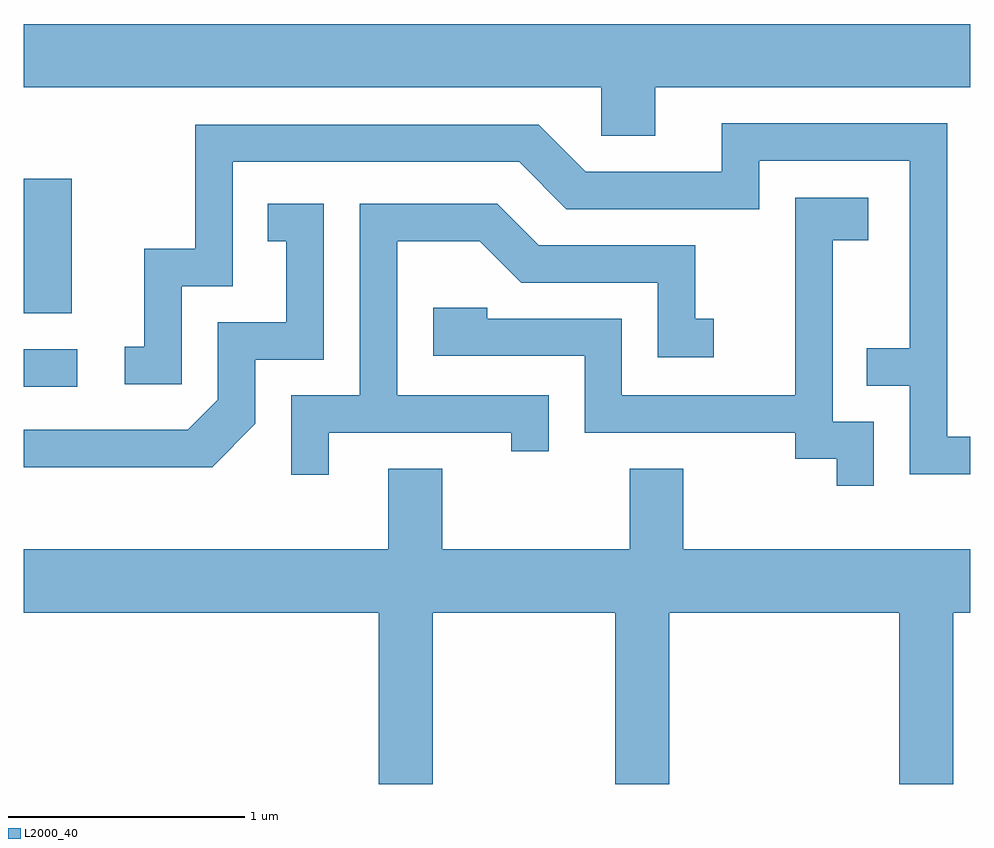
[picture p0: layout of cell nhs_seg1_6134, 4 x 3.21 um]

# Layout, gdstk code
import gdstk
lib = gdstk.Library(unit=1e-6, precision=1e-09)
def R(c, l, rs):  # rectangles x0, y0, x1, y1
    for r in rs: c.add(gdstk.rectangle(r[:2], r[2:], *l))
def P(c, l, *ps):  # polygons
    for p in ps: c.add(gdstk.Polygon(p, *l))
L2000_40 = (2000, 40)

nhs_seg1_6134 = lib.new_cell('nhs_seg1_6134')
R(nhs_seg1_6134, L2000_40, [(369.611,929.391,369.838,929.549), (369.611,929.701,369.814,930.269)])
P(nhs_seg1_6134, L2000_40, [(372.279,930.656),(373.611,930.656),(373.611,930.924),(369.611,930.924),(369.611,930.656),(372.051,930.656),(372.051,930.451),(372.279,930.451)],
  [(373.611,929.179),(373.514,929.179),(373.514,930.504),(372.561,930.504),(372.561,930.299),(371.987,930.299),(371.787,930.499),(370.336,930.499),(370.336,929.974),(370.121,929.974),(370.121,929.559),(370.038,929.559),(370.038,929.401),(370.279,929.401),(370.279,929.816),(370.494,929.816),(370.494,930.341),(371.704,930.341),(371.904,930.141),(372.719,930.141),(372.719,930.346),(373.356,930.346),(373.356,929.554),(373.173,929.554),(373.173,929.396),(373.356,929.396),(373.356,929.021),(373.611,929.021)],
  [(373.204,929.244),(373.029,929.244),(373.029,930.011),(373.179,930.011),(373.179,930.189),(372.871,930.189),(372.871,929.354),(372.139,929.354),(372.139,929.679),(371.569,929.679),(371.569,929.724),(371.341,929.724),(371.341,929.521),(371.981,929.521),(371.981,929.196),(372.871,929.196),(372.871,929.086),(373.046,929.086),(373.046,928.973),(373.204,928.973)],
  [(370.899,929.196),(371.671,929.196),(371.671,929.118),(371.829,929.118),(371.829,929.354),(371.189,929.354),(371.189,930.006),(371.539,930.006),(371.714,929.831),(372.291,929.831),(372.291,929.516),(372.528,929.516),(372.528,929.679),(372.449,929.679),(372.449,929.989),(371.787,929.989),(371.612,930.164),(371.031,930.164),(371.031,929.354),(370.741,929.354),(370.741,929.018),(370.899,929.018)],
  [(370.589,929.234),(370.589,929.506),(370.879,929.506),(370.879,930.164),(370.643,930.164),(370.643,930.006),(370.721,930.006),(370.721,929.664),(370.431,929.664),(370.431,929.337),(370.304,929.209),(369.611,929.209),(369.611,929.051),(370.407,929.051)],
  [(371.339,928.436),(372.111,928.436),(372.111,927.712),(372.339,927.712),(372.339,928.436),(373.311,928.436),(373.311,927.712),(373.539,927.712),(373.539,928.436),(373.611,928.436),(373.611,928.704),(372.399,928.704),(372.399,929.044),(372.171,929.044),(372.171,928.704),(371.379,928.704),(371.379,929.044),(371.151,929.044),(371.151,928.704),(369.611,928.704),(369.611,928.436),(371.111,928.436),(371.111,927.712),(371.339,927.712)])

lib.write_gds('nhs_seg1_6134.gds')
